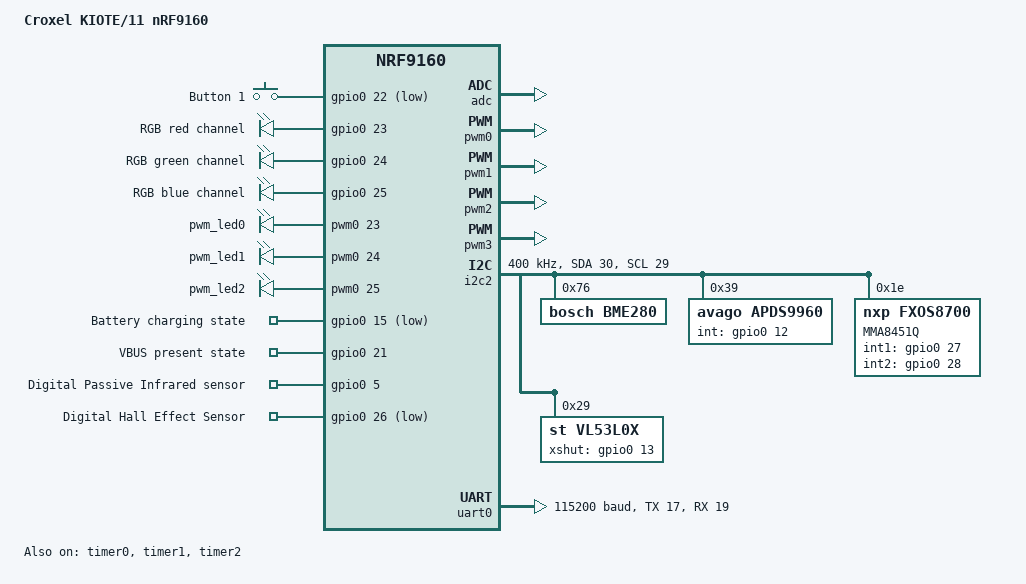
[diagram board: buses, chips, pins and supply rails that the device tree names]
/*
 * Copyright (c) 2019 Nordic Semiconductor ASA
 * Copyright (c) 2021 Croxel Inc
 *
 * SPDX-License-Identifier: LicenseRef-Nordic-5-Clause
 */

/** @TODO:
 * - Add Audio Amplifier.
 * - Define Expansion Headers.
*/

/ {
	model = "Croxel KIOTE/11 nRF9160";
	compatible = "croxel,kiote11-nrf9160";

	chosen {
		zephyr,console = &uart0;
		zephyr,shell-uart = &uart0;
		zephyr,uart-mcumgr = &uart0;
	};

	buttons {
		compatible = "gpio-keys";

		button0: button_0 {
			gpios = <&gpio0 22 (GPIO_PULL_UP | GPIO_ACTIVE_LOW)>;
			label = "Button 1";
		};
	};

	leds {
		compatible = "gpio-leds";
		red_led: led_1 {
			gpios = <&gpio0 23 0>;
			label = "RGB red channel";
		};
		green_led: led_2 {
			gpios = <&gpio0 24 0>;
			label = "RGB green channel";
		};
		blue_led: led_3 {
			gpios = <&gpio0 25 0>;
			label = "RGB blue channel";
		};
	};

	pwmleds {
		compatible = "pwm-leds";

		pwm_led0: pwm_led_0 {
			pwms = <&pwm0 23>;
		};
		pwm_led1: pwm_led_1 {
			pwms = <&pwm0 24>;
		};
		pwm_led2: pwm_led_2 {
			pwms = <&pwm0 25>;
		};
	};

	power_input_st {
		compatible = "gpio-keys";
		batt_charging_st: batt_charging_st0 {
			gpios = <&gpio0 15 (GPIO_PULL_UP | GPIO_ACTIVE_LOW)>;
			label = "Battery charging state";
		};
		vbus_present_st: vbus_present_st {
			gpios = <&gpio0 21 0>;
			label = "VBUS present state";
		};
	};

	discrete_sensors {
		compatible = "gpio-keys";
		pir0: pir_0 {
			gpios = <&gpio0 5 (GPIO_PULL_DOWN | GPIO_ACTIVE_HIGH)>;
			label = "Digital Passive Infrared sensor";
		};
		hall_effect_sensor0: hes_0 {
			gpios = <&gpio0 26 (GPIO_PULL_UP | GPIO_ACTIVE_LOW)>;
			label = "Digital Hall Effect Sensor";
		};
	};

	aliases {
		sw0 = &button0;
		led0 = &red_led;
		led1 = &green_led;
		led2 = &blue_led;
		rgb-pwm = &pwm0;
		pwm-led0 = &pwm_led0;
		pwm-led1 = &pwm_led1;
		pwm-led2 = &pwm_led2;
		red-pwm-led = &pwm_led0;
		green-pwm-led = &pwm_led1;
		blue-pwm-led = &pwm_led2;
		buzzer-pwm = &pwm1;
		batt-charging-st = &batt_charging_st;
		vbus-present-st = &vbus_present_st;
		pir = &pir0;
		hes = &hall_effect_sensor0;
	};
};

&adc {
	status = "okay";
};

&gpiote {
	status = "okay";
};

&gpio0 {
	status = "okay";
};

/* PWM0 is intended for RGB LED control */
&pwm0 {
	status = "okay";
	ch0-pin = <23>;
	ch1-pin = <24>;
	ch2-pin = <25>;
};

/* PWM1 is intended for buzzer control */
&pwm1 {
	status = "okay";
	ch0-pin = <6>;
};

&pwm2 {
	status = "okay";
};

&pwm3 {
	status = "okay";
};

&i2c2 {
	compatible = "nordic,nrf-twim";
	status = "okay";
	sda-pin = <30>;
	scl-pin = <29>;
	clock-frequency = <I2C_BITRATE_FAST>;

	bme280@76 {
		compatible = "bosch,bme280";
		label = "BME280";
		reg = <0x76>;
	};

    apds9960@39 {
		compatible = "avago,apds9960";
		reg = <0x39>;
		label = "APDS9960";
        int-gpios = <&gpio0 12 GPIO_PULL_UP>;
    };
	   
	mma8451q@1e {
		compatible = "nxp,fxos8700","nxp,mma8451q";
		reg = <0x1e>;
		label = "MMA8451Q";
		int1-gpios = <&gpio0 27 0>;
		int2-gpios = <&gpio0 28 0>;
	};
 	vl53l0x@29 {
   		compatible = "st,vl53l0x";
		reg = <0x29>;
   		label = "VL53L0X";
		xshut-gpios = <&gpio0 13 0>;
  	};
};

&timer0 {
	status = "okay";
};

&timer1 {
	status = "okay";
};

&timer2 {
	status = "okay";
};

&uart0 {
	compatible = "nordic,nrf-uarte";
	current-speed = <115200>;
	status = "okay";
	tx-pin = <17>;
	rx-pin = <19>;
	rts-pin = <16>;
	cts-pin = <18>;
};

&flash0 {
	/*
	 * For more information, see:
	 * http://docs.zephyrproject.org/devices/dts/flash_partitions.html
	 */
	partitions {
		compatible = "fixed-partitions";
		#address-cells = <1>;
		#size-cells = <1>;

		boot_partition: partition@0 {
			label = "mcuboot";
			reg = <0x00000000 0x10000>;
		};
		slot0_partition: partition@10000 {
			label = "image-0";
		};
		slot0_ns_partition: partition@40000 {
			label = "image-0-nonsecure";
		};
		slot1_partition: partition@80000 {
			label = "image-1";
		};
		slot1_ns_partition: partition@b0000 {
			label = "image-1-nonsecure";
		};
		scratch_partition: partition@f0000 {
			label = "image-scratch";
			reg = <0x000f0000 0xa000>;
		};
		storage_partition: partition@fa000 {
			label = "storage";
			reg = <0x000fa000 0x00006000>;
		};
	};
};

/ {

	reserved-memory {
		#address-cells = <1>;
		#size-cells = <1>;
		ranges;

		sram0_s: image_s@20000000 {
			/* Secure image memory */
		};

		sram0_bsd: image_bsd@20010000 {
			/* BSD (shared) memory */
		};

		sram0_ns: image_ns@20020000 {
			/* Non-Secure image memory */
		};
	};
};

/* Include partition configuration file */
#include "croxel_kiote11_nrf9160_partition_conf.dts"
